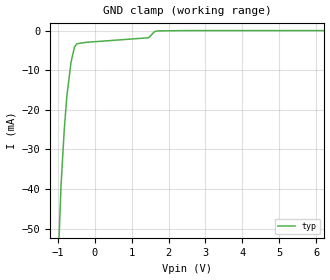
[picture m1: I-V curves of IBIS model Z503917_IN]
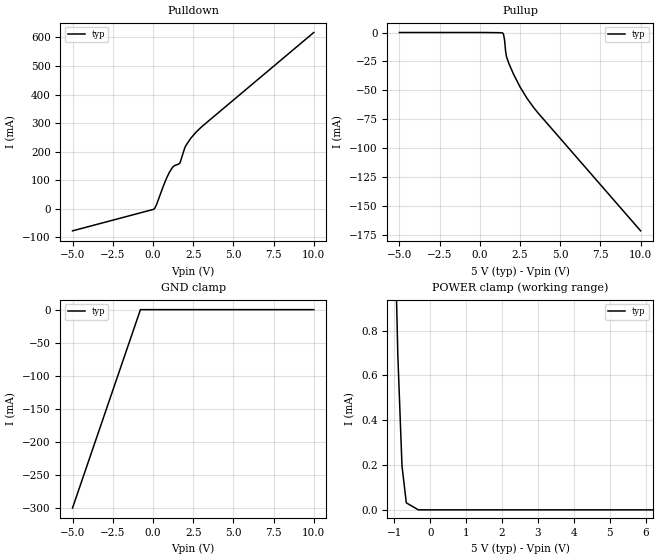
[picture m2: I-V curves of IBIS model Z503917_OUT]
| YOU ARE ONLY AUTHORIZED TO USE THIS SOFTWARE
| ACCORDING TO LICENSOR'S LICENSE RESTRICTIONS.
[IBIS Ver] 3.1
[File Name] mc54f182j.ibs
[File Rev] 2.0
[Source] Measured and created by ICX Technology
[Date] Friday 7/14/00 9:08:02 AM
[Copyright]
| (C) COPYRIGHT 1993-2000
| MENTOR GRAPHICS CORPORATION
| ICX STANDARD LIBRARY, ICX PROJECT MODELING,
| ICX CUSTOM MODELING, ICX VENDOR MODEL
| ALL RIGHTS RESERVED.
| THE FOLLOWING ARE TRADEMARKS OR SERVICE MARKS OF
| MENTOR GRAPHICS CORPORATION:ICX (R), ICX STANDARD
| LIBRARY(R), ICX PROJECT MODELING(R), ICX CUSTOM
| MODELING(R), qualityIBIS(TM), MODELVIEWER(TM),
| AND MODELEDITOR(TM)
| ALL COPIES OF SOFTWARE, INCLUDING BUT NOT LIMITED TO
| ANY MODIFICATIONS, ENHANCEMENTS OR DERIVATIVE WORKS,
| MUST CONTAIN ALL MENTOR GRAPHICS CORPORATION'S
| NOTICES AND LEGENDS, INCLUDING THOSE EMBEDDED IN
| SOFTWARE AND THOSE AFFIXED TO SOFTWARE MEDIUM
| AND CONTAINER, AS RECEIVED FROM MENTOR GRAPHICS
| CORPORATION.
|  ZAP Model Builder 2.7
[Component] MC54F182J
[Manufacturer] OnSemiconductor
[Package]
| variable   typ   min   max
R_pkg  .212ohms NA NA
L_pkg  4.758nH NA NA
C_pkg  1.143pF NA NA
[Pin] signal_name  model_name  R_pin  L_pin C_pin
1 _G1 Z503917_IN .224 7.258n 1.578p
2 _P1 Z503917_IN .216 5.258n 1.288p
3 _G0 Z503917_IN .208 3.758n .998p
4 _P0 Z503917_IN .2 2.758n .708p
5 _G3 Z503917_IN .2 2.758n .708p
6 _P3 Z503917_IN .208 3.758n .998p
7 _P Z503917_OUT .216 5.258n 1.288p
8 GROUND GND .224 7.258n 1.578p
9 CN_PL_Z Z503917_OUT .224 7.258n 1.578p
10 _Q Z503917_OUT .216 5.258n 1.288p
11 CN_PL_Y Z503917_OUT .208 3.758n .998p
12 CN_PL_X Z503917_OUT .2 2.758n .708p
13 CN Z503917_IN .2 2.758n .708p
14 _G2 Z503917_IN .208 3.758n .998p
15 _P2 Z503917_IN .216 5.258n 1.288p
16 VCC POWER .224 7.258n 1.578p
| Models and submodels in the file (2): Z503917_IN (Input), Z503917_OUT (Output)
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| (C) COPYRIGHT 1993-2000
| MENTOR GRAPHICS CORPORATION
| ICX STANDARD LIBRARY, ICX PROJECT MODELING,
| ICX CUSTOM MODELING, ICX VENDOR MODEL
| ALL RIGHTS RESERVED.
| THE FOLLOWING ARE TRADEMARKS OR SERVICE MARKS OF
| MENTOR GRAPHICS CORPORATION:ICX (R), ICX STANDARD
| LIBRARY(R), ICX PROJECT MODELING(R), ICX CUSTOM
| MODELING(R), qualityIBIS(TM), MODELVIEWER(TM),
| AND MODELEDITOR(TM)
| ALL COPIES OF SOFTWARE, INCLUDING BUT NOT LIMITED TO
| ANY MODIFICATIONS, ENHANCEMENTS OR DERIVATIVE WORKS,
| MUST CONTAIN ALL MENTOR GRAPHICS CORPORATION'S
| NOTICES AND LEGENDS, INCLUDING THOSE EMBEDDED IN
| SOFTWARE AND THOSE AFFIXED TO SOFTWARE MEDIUM
| AND CONTAINER, AS RECEIVED FROM MENTOR GRAPHICS
| CORPORATION.
| Model Application Version 1.89 2/18/99.
[Model] Z503917_IN
Model_type Input
Vinl = 800.0mV
Vinh = 2.000V
C_comp 4.000pF NA NA
| variable typ   min   max
[Voltage Range] 5.000V NA NA
[GND Clamp Reference] 0.000V NA NA
[POWER Clamp Reference] 5.000V NA NA
[GND Clamp]
-5V       -1.473A    NA         NA
-1.066V   -77.83mA   NA         NA
-907.6mV  -38.84mA   NA         NA
-820.3mV  -24.82mA   NA         NA
-752mV    -16.58mA   NA         NA
-638.4mV  -7.939mA   NA         NA
-545.4mV  -4.159mA   NA         NA
-483.1mV  -3.302mA   NA         NA
1.448V    -1.789mA   NA         NA
1.607V    -339.7uA   NA         NA
1.723V    -41.42uA   NA         NA
10V       39.79uA    NA         NA
[POWER Clamp]
-5V       0A         NA         NA
10V       0A         NA         NA
| (C) COPYRIGHT 1993-2000
| MENTOR GRAPHICS CORPORATION
| ICX STANDARD LIBRARY, ICX PROJECT MODELING,
| ICX CUSTOM MODELING, ICX VENDOR MODEL
| ALL RIGHTS RESERVED.
| THE FOLLOWING ARE TRADEMARKS OR SERVICE MARKS OF
| MENTOR GRAPHICS CORPORATION:ICX (R), ICX STANDARD
| LIBRARY(R), ICX PROJECT MODELING(R), ICX CUSTOM
| MODELING(R), qualityIBIS(TM), MODELVIEWER(TM),
| AND MODELEDITOR(TM)
| ALL COPIES OF SOFTWARE, INCLUDING BUT NOT LIMITED TO
| ANY MODIFICATIONS, ENHANCEMENTS OR DERIVATIVE WORKS,
| MUST CONTAIN ALL MENTOR GRAPHICS CORPORATION'S
| NOTICES AND LEGENDS, INCLUDING THOSE EMBEDDED IN
| SOFTWARE AND THOSE AFFIXED TO SOFTWARE MEDIUM
| AND CONTAINER, AS RECEIVED FROM MENTOR GRAPHICS
| CORPORATION.
| Model Application Version 1.89 2/18/99.
[Model] Z503917_OUT
Model_type Output
Vref=0.000V
Rref=500.0ohms
Cref=50.00pF
Vmeas=1.500V
C_comp 8.000pF NA NA
| variable typ   min   max
[Voltage Range] 5.000V NA NA
[POWER Clamp Reference] 5.000V NA NA
[Pullup Reference] 5.000V NA NA
[Pulldown Reference] 0.000V NA NA
[GND Clamp Reference] 0.000V NA NA
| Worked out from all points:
|   slope of the pulldown table from 0 to 0.75 V, typ, clamps not added: 7.79 ohm
|   slope of the pullup table from 0 to 0.75 V, typ, clamps not added: 9.17 kohm
|   POWER clamp passes 1 mA (typ) near -0.95 V on its own axis
[GND Clamp]
-5V       -299.7mA   NA         NA
-776.6mV  0A         NA         NA
10V       0A         NA         NA
[Pulldown]
-5V       -77.26mA   NA         NA
69.5mV    -810.8uA   NA         NA
232.9mV   15.84mA    NA         NA
626mV     76.44mA    NA         NA
1.012V    126.6mA    NA         NA
1.309V    149.8mA    NA         NA
1.679V    160.2mA    NA         NA
1.977V    213mA      NA         NA
2.051V    221.8mA    NA         NA
2.36V     247.6mA    NA         NA
2.697V    269.4mA    NA         NA
10V       617.5mA    NA         NA
[Pullup]
-5V       20.39uA    NA         NA
1.421V    -472.8uA   NA         NA
1.479V    -1.869mA   NA         NA
1.538V    -6.401mA   NA         NA
1.604V    -16.23mA   NA         NA
1.659V    -20.86mA   NA         NA
1.812V    -26.95mA   NA         NA
2.1V      -36.13mA   NA         NA
2.506V    -47.17mA   NA         NA
2.935V    -56.9mA    NA         NA
3.604V    -69.31mA   NA         NA
10V       -171.6mA   NA         NA
[POWER Clamp]
-5V       43.17mA    NA         NA
-1.286V   3.647mA    NA         NA
-1.146V   2.357mA    NA         NA
-908mV    693.8uA    NA         NA
-791mV    196uA      NA         NA
-671mV    31.37uA    NA         NA
-335.5mV  0A         NA         NA
10V       0A         NA         NA
[Ramp]
| variable typ min max
dV/dt_r 2.028/2.953n NA NA
dV/dt_f 2.028/767.6p NA NA
R_load = 500.0Ohms
